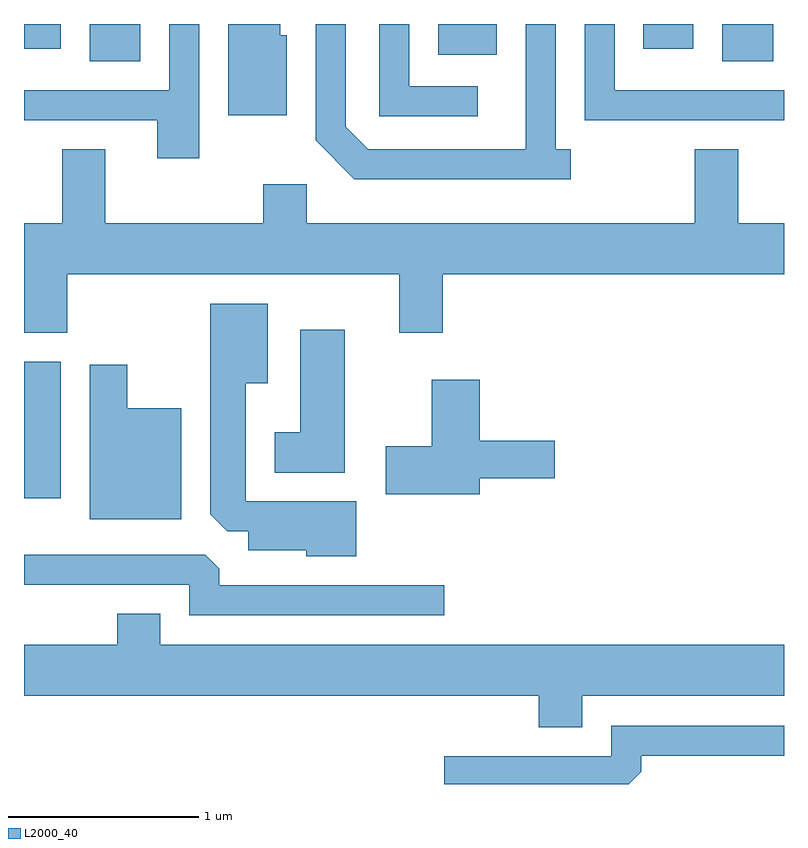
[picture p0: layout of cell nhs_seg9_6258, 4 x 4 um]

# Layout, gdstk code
import gdstk
lib = gdstk.Library(unit=1e-6, precision=1e-09)
def R(c, l, rs):  # rectangles x0, y0, x1, y1
    for r in rs: c.add(gdstk.rectangle(r[:2], r[2:], *l))
def P(c, l, *ps):  # polygons
    for p in ps: c.add(gdstk.Polygon(p, *l))
L2000_40 = (2000, 40)

nhs_seg9_6258 = lib.new_cell('nhs_seg9_6258')
R(nhs_seg9_6258, L2000_40, [(369.611,2023.936,369.804,2024.654), (369.956,2026.236,370.224,2026.432), (373.286,2026.236,373.554,2026.432), (371.791,2026.271,372.099,2026.432), (369.611,2026.301,369.804,2026.432), (372.871,2026.301,373.134,2026.432)])
P(nhs_seg9_6258, L2000_40, [(372.488,2025.774),(372.409,2025.774),(372.409,2026.432),(372.251,2026.432),(372.251,2025.774),(371.422,2025.774),(371.304,2025.892),(371.304,2026.432),(371.146,2026.432),(371.146,2025.819),(371.349,2025.616),(372.488,2025.616)],
  [(373.611,2026.084),(372.719,2026.084),(372.719,2026.432),(372.561,2026.432),(372.561,2025.926),(373.611,2025.926)],
  [(370.534,2026.432),(370.376,2026.432),(370.376,2026.084),(369.611,2026.084),(369.611,2025.926),(370.311,2025.926),(370.311,2025.726),(370.534,2025.726)],
  [(371.998,2026.104),(371.639,2026.104),(371.639,2026.432),(371.481,2026.432),(371.481,2025.946),(371.998,2025.946)],
  [(370.994,2026.374),(370.959,2026.374),(370.959,2026.432),(370.686,2026.432),(370.686,2025.951),(370.994,2025.951)],
  [(369.839,2025.116),(371.586,2025.116),(371.586,2024.806),(371.814,2024.806),(371.814,2025.116),(373.611,2025.116),(373.611,2025.384),(373.369,2025.384),(373.369,2025.774),(373.141,2025.774),(373.141,2025.384),(371.099,2025.384),(371.099,2025.589),(370.871,2025.589),(370.871,2025.384),(370.039,2025.384),(370.039,2025.774),(369.811,2025.774),(369.811,2025.384),(369.611,2025.384),(369.611,2024.806),(369.839,2024.806)],
  [(371.359,2023.919),(370.779,2023.919),(370.779,2024.541),(370.894,2024.541),(370.894,2024.959),(370.591,2024.959),(370.591,2023.852),(370.682,2023.761),(370.791,2023.761),(370.791,2023.661),(371.096,2023.661),(371.096,2023.631),(371.359,2023.631)],
  [(371.299,2024.824),(371.066,2024.824),(371.066,2024.284),(370.931,2024.284),(370.931,2024.071),(371.299,2024.071)],
  [(370.439,2024.409),(370.154,2024.409),(370.154,2024.639),(369.956,2024.639),(369.956,2023.826),(370.439,2023.826)],
  [(372.009,2024.041),(372.404,2024.041),(372.404,2024.239),(372.009,2024.239),(372.009,2024.559),(371.756,2024.559),(371.756,2024.209),(371.516,2024.209),(371.516,2023.956),(372.009,2023.956)],
  [(371.823,2023.479),(370.639,2023.479),(370.639,2023.564),(370.564,2023.639),(369.611,2023.639),(369.611,2023.481),(370.481,2023.481),(370.481,2023.321),(371.823,2023.321)],
  [(372.549,2022.896),(373.611,2022.896),(373.611,2023.164),(370.329,2023.164),(370.329,2023.329),(370.101,2023.329),(370.101,2023.164),(369.611,2023.164),(369.611,2022.896),(372.321,2022.896),(372.321,2022.731),(372.549,2022.731)],
  [(372.859,2022.497),(372.859,2022.581),(373.611,2022.581),(373.611,2022.739),(372.701,2022.739),(372.701,2022.579),(371.823,2022.579),(371.823,2022.432),(372.795,2022.432)])

lib.write_gds('nhs_seg9_6258.gds')
